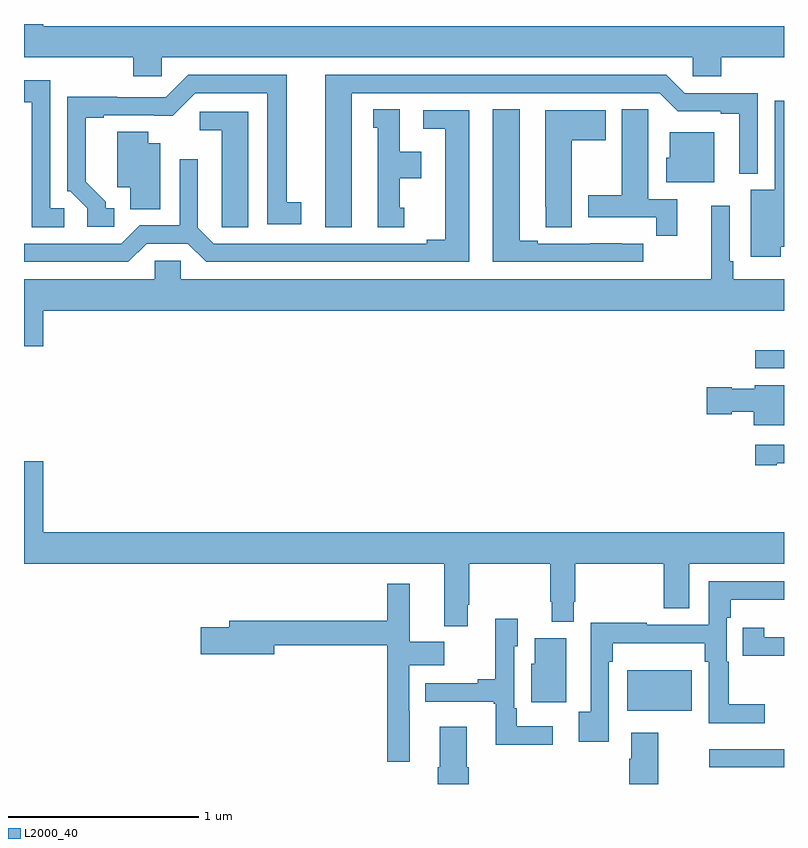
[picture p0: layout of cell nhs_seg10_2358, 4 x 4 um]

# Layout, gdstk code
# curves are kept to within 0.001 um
import gdstk
lib = gdstk.Library(unit=1e-6, precision=1e-09)
def R(c, l, rs):  # rectangles x0, y0, x1, y1
    for r in rs: c.add(gdstk.rectangle(r[:2], r[2:], *l))
def P(c, l, *ps):  # polygons
    for p in ps: c.add(gdstk.Polygon(p, *l))
L2000_40 = (2000, 40)

nhs_seg10_2358 = lib.new_cell('nhs_seg10_2358')
R(nhs_seg10_2358, L2000_40, [(240.606,1288.587,241,1288.684), (240.176,1288.886,240.514,1289.098), (240.849,1290.687,241,1290.783)])
P(nhs_seg10_2358, L2000_40, [(237.726,1292.324),(240.519,1292.324),(240.519,1292.226),(240.671,1292.226),(240.671,1292.324),(241,1292.324),(241,1292.488),(237.1,1292.488),(237.1,1292.5),(237,1292.5),(237,1292.324),(237.575,1292.324),(237.575,1292.226),(237.726,1292.226)],
  [(238.726,1292.136),(240.345,1292.136),(240.441,1292.04),(240.668,1292.04),(240.668,1292.028),(240.764,1292.028),(240.764,1291.712),(240.861,1291.712),(240.861,1292.136),(240.477,1292.136),(240.381,1292.232),(238.586,1292.232),(238.586,1291.431),(238.726,1291.431)],
  [(237.475,1291.53),(237.43,1291.53),(237.43,1291.565),(237.325,1291.67),(237.325,1292.007),(237.421,1292.007),(237.421,1292.019),(237.782,1292.018),(237.9,1292.136),(238.28,1292.136),(238.28,1291.446),(238.459,1291.446),(238.459,1291.562),(238.384,1291.562),(238.384,1292.232),(237.864,1292.232),(237.747,1292.115),(237.491,1292.115),(237.491,1292.117),(237.228,1292.117),(237.228,1291.62),(237.243,1291.62),(237.333,1291.53),(237.333,1291.434),(237.475,1291.434)],
  [(237.211,1291.53),(237.138,1291.53),(237.138,1292.205),(237,1292.205),(237,1292.089),(237.041,1292.089),(237.041,1291.429),(237.211,1291.429)],
  [(240.982,1291.328),(241,1291.328),(241,1292.095),(240.951,1292.095),(240.951,1291.627),(240.824,1291.627),(240.824,1291.275),(240.982,1291.275)],
  [(240.259,1291.344),(240.146,1291.344),(240.146,1291.345),(239.98,1291.345),(239.98,1291.344),(239.704,1291.344),(239.704,1291.359),(239.608,1291.359),(239.608,1292.051),(239.468,1292.051),(239.468,1291.248),(240.259,1291.248)],
  [(239.002,1291.533),(238.978,1291.533),(238.978,1291.688),(239.092,1291.688),(239.092,1291.828),(238.978,1291.828),(238.978,1292.051),(238.838,1292.051),(238.838,1291.953),(238.862,1291.953),(238.862,1291.431),(239.002,1291.431)],
  [(240.437,1291.578),(240.286,1291.578),(240.286,1291.94),(240.285,1291.94),(240.285,1292.051),(240.146,1292.051),(240.146,1291.599),(239.969,1291.599),(239.969,1291.482),(240.328,1291.482),(240.328,1291.386),(240.437,1291.386)],
  [(239.884,1291.888),(240.061,1291.888),(240.061,1292.047),(239.744,1292.047),(239.744,1291.537),(239.745,1291.537),(239.745,1291.429),(239.884,1291.429)],
  [(237.645,1291.344),(237.863,1291.344),(237.959,1291.248),(239.344,1291.248),(239.344,1292.046),(239.1,1292.046),(239.1,1291.95),(239.216,1291.95),(239.216,1291.364),(239.12,1291.364),(239.12,1291.344),(237.999,1291.344),(237.915,1291.428),(237.915,1291.789),(237.819,1291.789),(237.819,1291.44),(237.609,1291.44),(237.513,1291.344),(237,1291.344),(237,1291.248),(237.549,1291.248)],
  [(238.18,1292.037),(237.924,1292.037),(237.924,1291.94),(238.04,1291.94),(238.04,1291.537),(238.041,1291.537),(238.041,1291.429),(238.18,1291.429)],
  [(237.718,1291.873),(237.655,1291.873),(237.655,1291.934),(237.491,1291.934),(237.491,1291.64),(237.56,1291.64),(237.56,1291.525),(237.718,1291.525)],
  [(240.634,1291.93),(240.398,1291.93),(240.398,1291.797),(240.38,1291.797),(240.38,1291.667),(240.634,1291.667)],
  [(237.1,1290.992),(241,1290.992),(241,1291.156),(240.734,1291.156),(240.734,1291.252),(240.714,1291.252),(240.714,1291.543),(240.617,1291.543),(240.617,1291.156),(237.825,1291.156),(237.825,1291.254),(237.687,1291.254),(237.687,1291.156),(237,1291.156),(237,1290.804),(237.1,1290.804)],
  [(241,1290.598),(240.846,1290.598),(240.846,1290.58),(240.726,1290.58),(240.726,1290.588),(240.594,1290.588),(240.594,1290.446),(240.726,1290.446),(240.726,1290.458),(240.842,1290.458),(240.842,1290.389),(241,1290.389)],
  [(240.961,1290.189),(241,1290.189),(241,1290.285),(240.849,1290.285),(240.849,1290.177),(240.961,1290.177)],
  [(239.335,1289.443),(239.343,1289.443),(239.343,1289.66),(239.77,1289.66),(239.77,1289.458),(239.777,1289.458),(239.777,1289.353),(239.893,1289.353),(239.893,1289.458),(239.901,1289.458),(239.901,1289.66),(240.367,1289.66),(240.367,1289.424),(240.502,1289.424),(240.502,1289.66),(241,1289.66),(241,1289.824),(237.1,1289.824),(237.1,1290.199),(237,1290.199),(237,1289.66),(239.213,1289.66),(239.213,1289.331),(239.335,1289.331)],
  [(240.078,1289.144),(240.098,1289.144),(240.098,1289.24),(240.583,1289.24),(240.583,1289.144),(240.603,1289.144),(240.603,1288.82),(240.898,1288.82),(240.898,1288.92),(240.709,1288.92),(240.709,1289.144),(240.699,1289.144),(240.699,1289.375),(240.719,1289.375),(240.719,1289.471),(241,1289.471),(241,1289.568),(240.603,1289.568),(240.603,1289.337),(240.278,1289.337),(240.278,1289.35),(239.982,1289.35),(239.982,1288.881),(239.919,1288.881),(239.919,1288.722),(240.078,1288.722)],
  [(239.029,1288.883),(239.028,1288.883),(239.028,1289.126),(239.213,1289.126),(239.213,1289.248),(239.03,1289.248),(239.03,1289.554),(238.912,1289.554),(238.912,1289.359),(238.079,1289.359),(238.079,1289.325),(237.93,1289.325),(237.93,1289.183),(238.318,1289.183),(238.318,1289.23),(238.912,1289.23),(238.912,1288.617),(239.029,1288.617)],
  [(239.782,1288.803),(239.593,1288.803),(239.593,1288.9),(239.58,1288.9),(239.58,1289.226),(239.599,1289.226),(239.599,1289.371),(239.479,1289.371),(239.479,1289.051),(239.387,1289.051),(239.387,1289.031),(239.113,1289.031),(239.113,1288.934),(239.472,1288.934),(239.472,1288.923),(239.483,1288.923),(239.483,1288.706),(239.782,1288.706)],
  [(241,1289.273),(240.895,1289.273),(240.895,1289.323),(240.784,1289.323),(240.784,1289.174),(241,1289.174)],
  [(239.853,1289.032),(239.854,1289.032),(239.854,1289.268),(239.687,1289.268),(239.687,1289.133),(239.669,1289.133),(239.669,1288.929),(239.853,1288.929)],
  [(239.342,1288.588),(239.329,1288.588),(239.329,1288.801),(239.189,1288.801),(239.189,1288.588),(239.177,1288.588),(239.177,1288.5),(239.342,1288.5)],
  [(240.337,1288.771),(240.197,1288.771),(240.197,1288.634),(240.185,1288.634),(240.185,1288.5),(240.337,1288.5)])

lib.write_gds('nhs_seg10_2358.gds')
